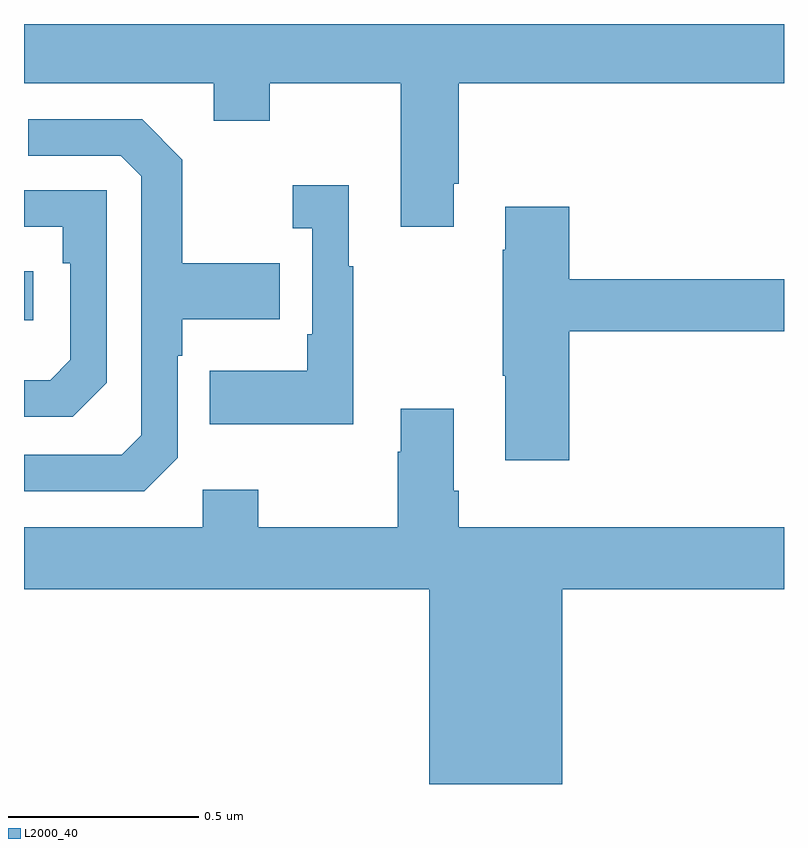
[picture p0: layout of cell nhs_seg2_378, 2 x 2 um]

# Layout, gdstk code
import gdstk
lib = gdstk.Library(unit=1e-6, precision=1e-09)
def R(c, l, rs):  # rectangles x0, y0, x1, y1
    for r in rs: c.add(gdstk.rectangle(r[:2], r[2:], *l))
def P(c, l, *ps):  # polygons
    for p in ps: c.add(gdstk.Polygon(p, *l))
L2000_40 = (2000, 40)

nhs_seg2_378 = lib.new_cell('nhs_seg2_378')
R(nhs_seg2_378, L2000_40, [(115,639.02,115.024,639.15)])
P(nhs_seg2_378, L2000_40, [(116.131,639.379),(116.144,639.379),(116.144,639.644),(117,639.644),(117,639.8),(115,639.8),(115,639.644),(115.499,639.644),(115.499,639.545),(115.647,639.545),(115.647,639.644),(115.991,639.644),(115.991,639.267),(116.131,639.267)],
  [(115.404,638.658),(115.404,638.927),(115.417,638.927),(115.417,639.023),(115.673,639.023),(115.673,639.171),(115.417,639.171),(115.417,639.443),(115.311,639.549),(115.011,639.549),(115.011,639.453),(115.254,639.453),(115.308,639.399),(115.308,638.718),(115.257,638.667),(115,638.667),(115,638.571),(115.317,638.571)],
  [(115.867,639.163),(115.855,639.163),(115.855,639.376),(115.707,639.376),(115.707,639.263),(115.758,639.263),(115.758,638.983),(115.746,638.983),(115.746,638.887),(115.489,638.887),(115.489,638.747),(115.867,638.747)],
  [(115.218,638.856),(115.218,639.363),(115,639.363),(115,639.267),(115.102,639.267),(115.102,639.17),(115.122,639.17),(115.122,638.916),(115.069,638.863),(115,638.863),(115,638.766),(115.128,638.766)],
  [(116.435,638.992),(117,638.992),(117,639.128),(116.435,639.128),(116.435,639.319),(116.267,639.319),(116.267,639.206),(116.26,639.206),(116.26,638.875),(116.267,638.875),(116.267,638.652),(116.435,638.652)],
  [(116.416,638.312),(117,638.312),(117,638.476),(116.144,638.476),(116.144,638.572),(116.131,638.572),(116.131,638.788),(115.991,638.788),(115.991,638.675),(115.984,638.675),(115.984,638.476),(115.617,638.476),(115.617,638.575),(115.47,638.575),(115.47,638.476),(115,638.476),(115,638.312),(116.066,638.312),(116.066,637.8),(116.416,637.8)])

lib.write_gds('nhs_seg2_378.gds')
